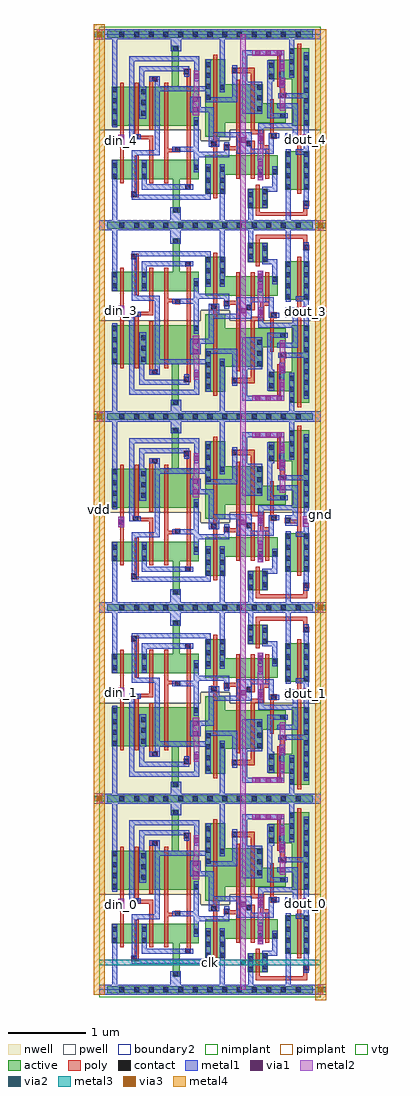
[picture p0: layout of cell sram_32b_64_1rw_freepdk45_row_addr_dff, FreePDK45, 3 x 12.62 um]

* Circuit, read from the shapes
.subckt sram_32b_64_1rw_freepdk45_row_addr_dff clk din_0 din_1 din_2 din_3 din_4 dout_0 dout_1 dout_2 dout_3 dout_4 gnd vdd
M1 n1 din_0 gnd gnd nfet w=0.25u l=0.05u
M2 n2 din_1 gnd gnd nfet w=0.25u l=0.05u
M3 n3 din_2 gnd gnd nfet w=0.25u l=0.05u
M4 n4 din_3 gnd gnd nfet w=0.25u l=0.05u
M5 n5 din_4 gnd gnd nfet w=0.25u l=0.05u
M6 n6 n7 n1 gnd nfet w=0.25u l=0.05u
M7 n8 n9 n2 gnd nfet w=0.25u l=0.05u
M8 n10 n11 n3 gnd nfet w=0.25u l=0.05u
M9 n12 n13 n4 gnd nfet w=0.25u l=0.05u
M10 n14 n15 n5 gnd nfet w=0.25u l=0.05u
M11 n16 clk n6 gnd nfet w=0.25u l=0.05u
M12 n17 clk n8 gnd nfet w=0.25u l=0.05u
M13 n18 clk n10 gnd nfet w=0.25u l=0.05u
M14 n19 clk n12 gnd nfet w=0.25u l=0.05u
M15 n20 clk n14 gnd nfet w=0.25u l=0.05u
M16 gnd n21 n16 gnd nfet w=0.25u l=0.05u
M17 gnd n22 n17 gnd nfet w=0.25u l=0.05u
M18 gnd n23 n18 gnd nfet w=0.25u l=0.05u
M19 gnd n24 n19 gnd nfet w=0.25u l=0.05u
M20 gnd n25 n20 gnd nfet w=0.25u l=0.05u
M21 n21 n6 gnd gnd nfet w=0.25u l=0.05u
M22 n22 n8 gnd gnd nfet w=0.25u l=0.05u
M23 n23 n10 gnd gnd nfet w=0.25u l=0.05u
M24 n24 n12 gnd gnd nfet w=0.25u l=0.05u
M25 n25 n14 gnd gnd nfet w=0.25u l=0.05u
M26 gnd clk n7 gnd nfet w=0.5u l=0.05u
M27 gnd clk n9 gnd nfet w=0.5u l=0.05u
M28 gnd clk n11 gnd nfet w=0.5u l=0.05u
M29 gnd clk n13 gnd nfet w=0.5u l=0.05u
M30 gnd clk n15 gnd nfet w=0.5u l=0.05u
M31 n26 n21 gnd gnd nfet w=0.25u l=0.05u
M32 n27 n22 gnd gnd nfet w=0.25u l=0.05u
M33 n28 n23 gnd gnd nfet w=0.25u l=0.05u
M34 n29 n24 gnd gnd nfet w=0.25u l=0.05u
M35 n30 n25 gnd gnd nfet w=0.25u l=0.05u
M36 n31 clk n26 gnd nfet w=0.25u l=0.05u
M37 n32 clk n27 gnd nfet w=0.25u l=0.05u
M38 n33 clk n28 gnd nfet w=0.25u l=0.05u
M39 n34 clk n29 gnd nfet w=0.25u l=0.05u
M40 n35 clk n30 gnd nfet w=0.25u l=0.05u
M41 n36 dout_0 gnd gnd nfet w=0.25u l=0.05u
M42 n37 dout_1 gnd gnd nfet w=0.25u l=0.05u
M43 n38 dout_2 gnd gnd nfet w=0.25u l=0.05u
M44 n39 dout_3 gnd gnd nfet w=0.25u l=0.05u
M45 n40 dout_4 gnd gnd nfet w=0.25u l=0.05u
M46 n36 n7 n31 gnd nfet w=0.25u l=0.05u
M47 n37 n9 n32 gnd nfet w=0.25u l=0.05u
M48 n38 n11 n33 gnd nfet w=0.25u l=0.05u
M49 n39 n13 n34 gnd nfet w=0.25u l=0.05u
M50 n40 n15 n35 gnd nfet w=0.25u l=0.05u
M51 dout_0 n31 gnd gnd nfet w=0.5u l=0.05u
M52 dout_1 n32 gnd gnd nfet w=0.5u l=0.05u
M53 dout_2 n33 gnd gnd nfet w=0.5u l=0.05u
M54 dout_3 n34 gnd gnd nfet w=0.5u l=0.05u
M55 dout_4 n35 gnd gnd nfet w=0.5u l=0.05u
M56 n41 din_0 vdd vdd pfet w=0.5u l=0.05u
M57 n42 din_1 vdd vdd pfet w=0.5u l=0.05u
M58 n43 din_2 vdd vdd pfet w=0.5u l=0.05u
M59 n44 din_3 vdd vdd pfet w=0.5u l=0.05u
M60 n45 din_4 vdd vdd pfet w=0.5u l=0.05u
M61 n6 clk n41 vdd pfet w=0.5u l=0.05u
M62 n8 clk n42 vdd pfet w=0.5u l=0.05u
M63 n10 clk n43 vdd pfet w=0.5u l=0.05u
M64 n12 clk n44 vdd pfet w=0.5u l=0.05u
M65 n14 clk n45 vdd pfet w=0.5u l=0.05u
M66 n46 n7 n6 vdd pfet w=0.5u l=0.05u
M67 n47 n9 n8 vdd pfet w=0.5u l=0.05u
M68 n48 n11 n10 vdd pfet w=0.5u l=0.05u
M69 n49 n13 n12 vdd pfet w=0.5u l=0.05u
M70 n50 n15 n14 vdd pfet w=0.5u l=0.05u
M71 vdd n21 n46 vdd pfet w=0.5u l=0.05u
M72 vdd n22 n47 vdd pfet w=0.5u l=0.05u
M73 vdd n23 n48 vdd pfet w=0.5u l=0.05u
M74 vdd n24 n49 vdd pfet w=0.5u l=0.05u
M75 vdd n25 n50 vdd pfet w=0.5u l=0.05u
M76 n21 n6 vdd vdd pfet w=0.5u l=0.05u
M77 n22 n8 vdd vdd pfet w=0.5u l=0.05u
M78 n23 n10 vdd vdd pfet w=0.5u l=0.05u
M79 n24 n12 vdd vdd pfet w=0.5u l=0.05u
M80 n25 n14 vdd vdd pfet w=0.5u l=0.05u
M81 vdd clk n7 vdd pfet w=1u l=0.05u
M82 vdd clk n9 vdd pfet w=1u l=0.05u
M83 vdd clk n11 vdd pfet w=1u l=0.05u
M84 vdd clk n13 vdd pfet w=1u l=0.05u
M85 vdd clk n15 vdd pfet w=1u l=0.05u
M86 n51 n21 vdd vdd pfet w=0.5u l=0.05u
M87 n52 n22 vdd vdd pfet w=0.5u l=0.05u
M88 n53 n23 vdd vdd pfet w=0.5u l=0.05u
M89 n54 n24 vdd vdd pfet w=0.5u l=0.05u
M90 n55 n25 vdd vdd pfet w=0.5u l=0.05u
M91 n31 n7 n51 vdd pfet w=0.5u l=0.05u
M92 n32 n9 n52 vdd pfet w=0.5u l=0.05u
M93 n33 n11 n53 vdd pfet w=0.5u l=0.05u
M94 n34 n13 n54 vdd pfet w=0.5u l=0.05u
M95 n35 n15 n55 vdd pfet w=0.5u l=0.05u
M96 n56 clk n31 vdd pfet w=0.25u l=0.05u
M97 n57 clk n32 vdd pfet w=0.25u l=0.05u
M98 n58 clk n33 vdd pfet w=0.25u l=0.05u
M99 n59 clk n34 vdd pfet w=0.25u l=0.05u
M100 n60 clk n35 vdd pfet w=0.25u l=0.05u
M101 vdd dout_0 n56 vdd pfet w=0.25u l=0.05u
M102 vdd dout_1 n57 vdd pfet w=0.25u l=0.05u
M103 vdd dout_2 n58 vdd pfet w=0.25u l=0.05u
M104 vdd dout_3 n59 vdd pfet w=0.25u l=0.05u
M105 vdd dout_4 n60 vdd pfet w=0.25u l=0.05u
M106 dout_0 n31 vdd vdd pfet w=1u l=0.05u
M107 dout_1 n32 vdd vdd pfet w=1u l=0.05u
M108 dout_2 n33 vdd vdd pfet w=1u l=0.05u
M109 dout_3 n34 vdd vdd pfet w=1u l=0.05u
M110 dout_4 n35 vdd vdd pfet w=1u l=0.05u
.ends

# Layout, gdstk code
import gdstk
lib = gdstk.Library(unit=1e-6, precision=5e-10)
def R(c, l, rs):  # rectangles x0, y0, x1, y1
    for r in rs: c.add(gdstk.rectangle(r[:2], r[2:], *l))
def A(c, l, x, y, w, h, nx, ny, dx, dy):  # array of equal rectangles
    R(c, l, [(x+i*dx, y+j*dy, x+i*dx+w, y+j*dy+h) for i in range(nx) for j in range(ny)])
def P(c, l, *ps):  # polygons
    for p in ps: c.add(gdstk.Polygon(p, *l))
active = (1, 0)
pwell = (2, 0)
nwell = (3, 0)
nimplant = (4, 0)
pimplant = (5, 0)
vtg = (6, 0)
poly = (9, 0)
contact = (10, 0)
metal1 = (11, 0)
via1 = (12, 0)
metal2 = (13, 0)
via2 = (14, 0)
metal3 = (15, 0)
via3 = (16, 0)
metal4 = (17, 0)
boundary2 = (239, 0)

dff = lib.new_cell('dff')
A(dff, active, 0.2675, 0.6, 0.05, 0.25, 4, 1, 0.19, 0)
A(dff, active, 0.3175, 0.6, 0.14, 0.25, 3, 1, 0.19, 0)
A(dff, active, 1.7675, 0.6575, 0.05, 0.25, 3, 1, 0.19, 0)
A(dff, active, 0.2675, 1.2925, 0.05, 0.5, 4, 1, 0.19, 0)
A(dff, active, 0.3175, 1.2925, 0.14, 0.5, 3, 1, 0.19, 0)
R(dff, active, [(0.1,-0.045,2.76,0.045), (1.9175,0.2225,2.0225,0.4725), (2.0225,0.2225,2.0725,0.4725), (2.0725,0.2225,2.1775,0.4725), (1.3675,0.4075,1.4725,0.9075), (1.4725,0.4075,1.5225,0.9075), (2.4025,0.4625,2.5575,0.9625), (2.5575,0.4625,2.6075,0.9625), (2.6075,0.4625,2.7125,0.9625), (0.1625,0.6,0.2675,0.85), (1.1325,0.6,1.1825,0.85), (1.1825,0.6,1.2875,0.85), (1.8175,0.6575,1.9575,0.9075), (2.0075,0.6575,2.1475,0.9075), (2.1975,0.6575,2.3075,0.9075), (1.3675,1.15,1.4725,2.15), (1.4725,1.15,1.5225,2.15), (0.1625,1.2925,0.2675,1.7925), (1.1325,1.2925,1.1825,1.7925), (1.1825,1.2925,1.2875,1.7925), (2.5575,1.2925,2.6075,2.2925), (2.6075,1.2925,2.7125,2.2925), (1.7675,1.3275,1.8175,1.8275), (1.8175,1.3275,1.9575,1.8275), (1.9575,1.3275,2.0075,1.8275), (2.2075,1.3275,2.2575,1.5775), (2.2575,1.3275,2.4075,1.5775), (2.1925,1.8925,2.2975,2.1425), (2.2975,1.8925,2.3475,2.1425), (0.1,2.425,2.76,2.515)])
P(dff, active, [(0.8875,1.2925),(0.8875,1.7925),(0.9375,1.7925),(0.9375,2.3225),(1.0275,2.3225),(1.0275,1.7925),(1.1325,1.7925),(1.1325,1.2925)],
  [(1.5225,1.15),(1.5225,2.15),(1.6275,2.15),(1.6275,1.8275),(1.7675,1.8275),(1.7675,1.3275),(1.6275,1.3275),(1.6275,1.15)],
  [(2.0075,1.3275),(2.0075,1.8275),(2.1125,1.8275),(2.1125,1.5775),(2.2075,1.5775),(2.2075,1.3275)],
  [(2.4875,1.2925),(2.4875,1.8925),(2.3475,1.8925),(2.3475,2.1425),(2.4525,2.1425),(2.4525,2.2925),(2.5575,2.2925),(2.5575,1.2925)],
  [(0.9475,0.165),(0.9475,0.6),(0.8875,0.6),(0.8875,0.85),(1.1325,0.85),(1.1325,0.6),(1.0375,0.6),(1.0375,0.165)],
  [(1.5225,0.4075),(1.5225,0.9075),(1.7675,0.9075),(1.7675,0.6575),(1.6275,0.6575),(1.6275,0.4075)])
P(dff, pwell, [(0,-0.1),(0,1.235),(1.3125,1.235),(1.3125,1.095),(1.6825,1.095),(1.6825,1.235),(2.86,1.235),(2.86,-0.1)])
P(dff, nwell, [(1.3125,1.095),(1.3125,1.235),(0,1.235),(0,2.57),(2.86,2.57),(2.86,1.235),(1.6825,1.235),(1.6825,1.095)])
A(dff, nimplant, 0.2675, 0.6, 0.05, 0.25, 4, 1, 0.19, 0)
A(dff, nimplant, 0.3175, 0.6, 0.14, 0.25, 3, 1, 0.19, 0)
A(dff, nimplant, 1.7675, 0.6575, 0.05, 0.25, 3, 1, 0.19, 0)
R(dff, nimplant, [(1.9175,0.2225,2.0225,0.4725), (2.0225,0.2225,2.0725,0.4725), (2.0725,0.2225,2.1775,0.4725), (1.3675,0.4075,1.4725,0.9075), (1.4725,0.4075,1.5225,0.9075), (2.4025,0.4625,2.5575,0.9625), (2.5575,0.4625,2.6075,0.9625), (2.6075,0.4625,2.7125,0.9625), (0.1625,0.6,0.2675,0.85), (1.1325,0.6,1.1825,0.85), (1.1825,0.6,1.2875,0.85), (1.8175,0.6575,1.9575,0.9075), (2.0075,0.6575,2.1475,0.9075), (2.1975,0.6575,2.3075,0.9075), (0.1,2.425,2.76,2.515)])
P(dff, nimplant, [(0.9475,0.165),(0.9475,0.6),(0.8875,0.6),(0.8875,0.85),(1.1325,0.85),(1.1325,0.6),(1.0375,0.6),(1.0375,0.165)],
  [(1.5225,0.4075),(1.5225,0.9075),(1.7675,0.9075),(1.7675,0.6575),(1.6275,0.6575),(1.6275,0.4075)])
A(dff, pimplant, 0.2675, 1.2925, 0.05, 0.5, 4, 1, 0.19, 0)
A(dff, pimplant, 0.3175, 1.2925, 0.14, 0.5, 3, 1, 0.19, 0)
R(dff, pimplant, [(0.1,-0.045,2.76,0.045), (1.3675,1.15,1.4725,2.15), (1.4725,1.15,1.5225,2.15), (0.1625,1.2925,0.2675,1.7925), (1.1325,1.2925,1.1825,1.7925), (1.1825,1.2925,1.2875,1.7925), (2.5575,1.2925,2.6075,2.2925), (2.6075,1.2925,2.7125,2.2925), (1.7675,1.3275,1.8175,1.8275), (1.8175,1.3275,1.9575,1.8275), (1.9575,1.3275,2.0075,1.8275), (2.2075,1.3275,2.2575,1.5775), (2.2575,1.3275,2.4075,1.5775), (2.1925,1.8925,2.2975,2.1425), (2.2975,1.8925,2.3475,2.1425)])
P(dff, pimplant, [(0.8875,1.2925),(0.8875,1.7925),(0.9375,1.7925),(0.9375,2.3225),(1.0275,2.3225),(1.0275,1.7925),(1.1325,1.7925),(1.1325,1.2925)],
  [(1.5225,1.15),(1.5225,2.15),(1.6275,2.15),(1.6275,1.8275),(1.7675,1.8275),(1.7675,1.3275),(1.6275,1.3275),(1.6275,1.15)],
  [(2.0075,1.3275),(2.0075,1.8275),(2.1125,1.8275),(2.1125,1.5775),(2.2075,1.5775),(2.2075,1.3275)],
  [(2.4875,1.2925),(2.4875,1.8925),(2.3475,1.8925),(2.3475,2.1425),(2.4525,2.1425),(2.4525,2.2925),(2.5575,2.2925),(2.5575,1.2925)])
R(dff, vtg, [(0,-0.1,2.86,2.57)])
A(dff, poly, 0.2675, 0.6, 0.05, 0.25, 4, 1, 0.19, 0)
A(dff, poly, 1.7675, 0.6025, 0.05, 0.055, 3, 1, 0.19, 0)
A(dff, poly, 1.7675, 0.6575, 0.05, 0.25, 3, 1, 0.19, 0)
A(dff, poly, 0.2675, 1.2925, 0.05, 0.5, 4, 1, 0.19, 0)
R(dff, poly, [(2.0225,0.2225,2.0725,0.4725), (1.4725,0.3525,1.5225,0.4075), (1.4725,0.4075,1.5225,0.9075), (2.5575,0.4075,2.6075,0.4625), (2.5575,0.4625,2.6075,0.9625), (2.0225,0.4725,2.0725,0.5275), (0.2675,0.545,0.3175,0.6), (0.6475,0.545,0.6975,0.6), (0.8375,0.545,0.8875,0.6), (1.1325,0.6,1.1825,0.85), (0.4575,0.85,0.5075,0.905), (1.1325,0.85,1.1825,1.2925), (1.4725,1.15,1.5225,2.15), (0.6475,1.2375,0.6975,1.2925), (1.1325,1.2925,1.1825,1.7925), (2.5575,1.2925,2.6075,2.2925), (1.7675,1.3275,1.8175,1.8275), (1.9575,1.3275,2.0075,1.8275), (2.2075,1.3275,2.2575,1.5775), (2.2075,1.5775,2.2575,1.6325), (0.2675,1.7925,0.3175,1.8475), (0.4575,1.7925,0.5075,1.8475), (0.8375,1.7925,0.8875,1.8475), (1.7675,1.8275,1.8175,1.8825), (2.2975,1.8925,2.3475,2.1425), (2.2975,2.1425,2.3475,2.1975), (1.4725,2.15,1.5225,2.205), (2.5575,2.2925,2.6075,2.3475)])
P(dff, poly, [(0.2675,0.85),(0.2675,1.0675),(0.2425,1.0675),(0.2425,1.1425),(0.2675,1.1425),(0.2675,1.2925),(0.3175,1.2925),(0.3175,0.85)],
  [(0.4125,0.365),(0.4125,0.44),(0.4575,0.44),(0.4575,0.6),(0.5075,0.6),(0.5075,0.365)],
  [(0.6475,1.7925),(0.6475,1.9325),(0.7525,1.9325),(0.7525,1.8575),(0.6975,1.8575),(0.6975,1.7925)],
  [(0.6475,0.85),(0.6475,1.1125),(0.4325,1.1125),(0.4325,1.1875),(0.4575,1.1875),(0.4575,1.2925),(0.5075,1.2925),(0.5075,1.1625),(0.6975,1.1625),(0.6975,0.85)],
  [(0.8375,0.85),(0.8375,1.2925),(0.8875,1.2925),(0.8875,0.995),(0.9725,0.995),(0.9725,1.02),(1.0475,1.02),(1.0475,0.945),(0.8875,0.945),(0.8875,0.85)],
  [(1.1325,1.7925),(1.1325,1.9525),(1.0925,1.9525),(1.0925,2.0275),(1.1825,2.0275),(1.1825,1.7925)],
  [(1.1075,0.46),(1.1075,0.535),(1.1325,0.535),(1.1325,0.6),(1.1825,0.6),(1.1825,0.46)],
  [(1.4725,0.9075),(1.4725,1.01),(1.4425,1.01),(1.4425,1.085),(1.4725,1.085),(1.4725,1.15),(1.5225,1.15),(1.5225,0.9075)],
  [(1.7675,0.9075),(1.7675,0.9725),(1.6075,0.9725),(1.6075,1.0475),(1.6825,1.0475),(1.6825,1.0225),(1.7675,1.0225),(1.7675,1.3275),(1.8175,1.3275),(1.8175,0.9075)],
  [(1.9575,1.8275),(1.9575,1.9675),(1.7125,1.9675),(1.7125,2.0425),(2.0075,2.0425),(2.0075,1.8275)],
  [(1.9575,0.9075),(1.9575,1.0225),(1.9025,1.0225),(1.9025,1.0975),(2.0075,1.0975),(2.0075,0.9075)],
  [(2.3425,1.6425),(2.3425,1.7925),(2.2975,1.7925),(2.2975,1.8925),(2.3475,1.8925),(2.3475,1.8425),(2.3925,1.8425),(2.3925,1.7175),(2.4175,1.7175),(2.4175,1.6425)],
  [(2.2075,1.1225),(2.2075,1.3275),(2.2575,1.3275),(2.2575,1.1975),(2.2925,1.1975),(2.2925,1.1225)],
  [(2.0225,0.1225),(2.0225,0.2225),(2.0725,0.2225),(2.0725,0.1725),(2.6375,0.1725),(2.6375,0.3225),(2.7125,0.3225),(2.7125,0.2475),(2.6875,0.2475),(2.6875,0.1225)],
  [(2.1475,0.9075),(2.1475,0.9875),(2.0825,0.9875),(2.0825,1.1825),(1.9575,1.1825),(1.9575,1.3275),(2.0075,1.3275),(2.0075,1.2325),(2.1325,1.2325),(2.1325,1.0375),(2.1975,1.0375),(2.1975,0.9075)],
  [(2.5575,0.9625),(2.5575,1.0875),(2.3975,1.0875),(2.3975,1.1625),(2.4725,1.1625),(2.4725,1.1375),(2.5575,1.1375),(2.5575,1.2925),(2.6075,1.2925),(2.6075,0.9625)])
A(dff, contact, 0.2575, -0.0325, 0.065, 0.065, 13, 2, 0.19, 2.47)
A(dff, contact, 1.3725, 0.4125, 0.065, 0.065, 1, 3, 0, 0.14)
A(dff, contact, 1.5575, 0.4125, 0.065, 0.065, 1, 3, 0, 0.14)
A(dff, contact, 2.4075, 0.4675, 0.065, 0.065, 1, 4, 0, 0.14)
A(dff, contact, 2.6425, 0.4675, 0.065, 0.065, 1, 4, 0, 0.14)
A(dff, contact, 2.6425, 1.2975, 0.065, 0.065, 1, 7, 0, 0.14)
A(dff, contact, 0.1675, 1.3025, 0.065, 0.065, 1, 4, 0, 0.14)
A(dff, contact, 0.5425, 1.4175, 0.065, 0.065, 1, 3, 0, 0.14)
A(dff, contact, 2.0425, 1.4775, 0.065, 0.065, 1, 3, 0, 0.14)
A(dff, contact, 1.3725, 1.6275, 0.065, 0.065, 1, 4, 0, 0.14)
A(dff, contact, 2.4575, 1.9425, 0.065, 0.065, 1, 3, 0, 0.14)
R(dff, contact, [(0.9525,0.17,1.0175,0.235), (1.9225,0.2275,1.9875,0.2925), (2.6425,0.2525,2.7075,0.3175), (2.1075,0.2625,2.1725,0.3275), (1.9225,0.3675,1.9875,0.4325), (0.4175,0.37,0.4825,0.435), (2.1075,0.4025,2.1725,0.4675), (1.1125,0.465,1.1775,0.53), (0.1675,0.605,0.2325,0.67), (0.5475,0.605,0.6125,0.67), (2.0475,0.6625,2.1125,0.7275), (2.2375,0.6625,2.3025,0.7275), (1.2175,0.72,1.2825,0.785), (0.1675,0.745,0.2325,0.81), (0.5475,0.745,0.6125,0.81), (0.9775,0.95,1.0425,1.015), (1.6125,0.9775,1.6775,1.0425), (1.4475,1.015,1.5125,1.08), (1.9075,1.0275,1.9725,1.0925), (0.2475,1.0725,0.3125,1.1375), (2.4025,1.0925,2.4675,1.1575), (0.4375,1.1175,0.5025,1.1825), (2.2225,1.1275,2.2875,1.1925), (1.2175,1.2975,1.2825,1.3625), (2.3375,1.3875,2.4025,1.4525), (2.3475,1.6475,2.4125,1.7125), (1.5575,1.7575,1.6225,1.8225), (0.6825,1.8625,0.7475,1.9275), (2.1975,1.8975,2.2625,1.9625), (1.0975,1.9575,1.1625,2.0225), (1.7175,1.9725,1.7825,2.0375), (2.1975,2.0375,2.2625,2.1025), (0.9575,2.2525,1.0225,2.3175)])
R(dff, metal1, [(0,-0.065,2.86,0.065), (0,-0.065,2.86,0.065), (2.0475,0.5875,2.1125,0.8625), (2.6425,0.915,2.7075,1.1275), (1.7775,0.9275,1.9725,1.2075), (0.245,1.0375,0.3225,1.1725), (2.6325,1.0475,2.71,1.1825), (2.3275,1.7775,2.3925,2.1275), (0,2.405,2.76,2.535), (0,2.405,2.76,2.535)])
P(dff, metal1, [(0.1675,1.2675),(0.1675,2.405),(0.1,2.405),(0.1,2.535),(2.86,2.535),(2.86,2.405),(2.5225,2.405),(2.5225,1.9075),(2.4575,1.9075),(2.4575,2.405),(1.6225,2.405),(1.6225,1.7225),(1.5575,1.7225),(1.5575,2.405),(1.0575,2.405),(1.0575,2.2525),(0.9225,2.2525),(0.9225,2.405),(0.2325,2.405),(0.2325,1.2675)],
  [(0.1,-0.065),(0.1,0.065),(0.1675,0.065),(0.1675,0.845),(0.2325,0.845),(0.2325,0.065),(0.9175,0.065),(0.9175,0.235),(1.0525,0.235),(1.0525,0.065),(1.5575,0.065),(1.5575,0.7925),(1.6225,0.7925),(1.6225,0.065),(1.9225,0.065),(1.9225,0.4675),(1.9875,0.4675),(1.9875,0.065),(2.4075,0.065),(2.4075,0.9875),(2.4725,0.9875),(2.4725,0.065),(2.76,0.065),(2.76,-0.065)],
  [(0.4175,0.335),(0.4175,0.975),(0.7175,0.975),(0.7175,1.8625),(0.6475,1.8625),(0.6475,1.9275),(0.7825,1.9275),(0.7825,1.7975),(1.3725,1.7975),(1.3725,2.1475),(1.4375,2.1475),(1.4375,1.6575),(1.7175,1.6575),(1.7175,2.0725),(1.7825,2.0725),(1.7825,1.5925),(1.3725,1.5925),(1.3725,1.7325),(0.7825,1.7325),(0.7825,0.91),(0.4825,0.91),(0.4825,0.4),(1.3725,0.4),(1.3725,0.7925),(1.4375,0.7925),(1.4375,0.335)],
  [(1.7775,0.9275),(1.7775,1.1425),(1.5475,1.1425),(1.5475,1.015),(1.4125,1.015),(1.4125,1.4625),(1.1725,1.4625),(1.1725,1.6675),(1.3075,1.6675),(1.3075,1.5275),(1.4775,1.5275),(1.4775,1.2075),(1.9725,1.2075),(1.9725,0.9925),(2.1875,0.9925),(2.1875,1.1925),(2.3225,1.1925),(2.3225,1.1275),(2.2525,1.1275),(2.2525,0.9275)],
  [(0.3875,1.1175),(0.3875,2.1875),(1.2925,2.1875),(1.2925,1.8625),(1.2275,1.8625),(1.2275,2.1225),(0.4525,2.1225),(0.4525,1.1825),(0.5375,1.1825),(0.5375,1.1175)],
  [(0.5175,1.3825),(0.5175,2.0575),(1.1625,2.0575),(1.1625,1.9225),(1.0975,1.9225),(1.0975,1.9925),(0.5825,1.9925),(0.5825,1.7975),(0.6075,1.7975),(0.6075,1.3825)],
  [(0.5475,0.465),(0.5475,0.845),(0.6125,0.845),(0.6125,0.53),(1.2125,0.53),(1.2125,0.465)],
  [(1.2175,0.685),(1.2175,0.95),(0.9425,0.95),(0.9425,1.015),(1.2175,1.015),(1.2175,1.3975),(1.2825,1.3975),(1.2825,0.95),(1.6125,0.95),(1.6125,1.0775),(1.6775,1.0775),(1.6775,0.885),(1.2825,0.885),(1.2825,0.685)],
  [(1.8475,1.4425),(1.8475,2.2675),(2.3925,2.2675),(2.3925,2.2025),(1.9125,2.2025),(1.9125,1.8575),(2.1075,1.8575),(2.1075,1.4425)],
  [(2.0525,1.0575),(2.0525,1.3225),(2.5025,1.3225),(2.5025,1.5175),(2.3025,1.5175),(2.3025,1.5825),(2.5675,1.5825),(2.5675,1.0575),(2.4025,1.0575),(2.4025,1.1925),(2.5025,1.1925),(2.5025,1.2575),(2.1175,1.2575),(2.1175,1.0575)],
  [(2.1725,1.3875),(2.1725,2.1375),(2.2625,2.1375),(2.2625,1.8625),(2.2375,1.8625),(2.2375,1.4525),(2.4375,1.4525),(2.4375,1.3875)],
  [(2.6425,0.2175),(2.6425,0.9175),(2.5375,0.9175),(2.5375,0.9825),(2.6425,0.9825),(2.6425,1.6475),(2.3125,1.6475),(2.3125,1.7125),(2.6425,1.7125),(2.6425,2.2375),(2.7075,2.2375),(2.7075,0.2175)],
  [(2.1075,0.2275),(2.1075,0.5025),(2.2375,0.5025),(2.2375,0.7625),(2.3025,0.7625),(2.3025,0.4375),(2.1725,0.4375),(2.1725,0.2275)])
A(dff, via1, 2.0125, 2.2025, 0.065, 0.065, 3, 1, 0.14, 0)
R(dff, via1, [(2.0475,0.6225,2.1125,0.6875), (2.0475,0.7625,2.1125,0.8275), (0.2475,1.0725,0.3125,1.1375), (1.825,1.0725,1.89,1.1375), (2.64,1.0825,2.705,1.1475), (2.0525,1.0925,2.1175,1.1575), (1.2075,1.4625,1.2725,1.5275), (2.3375,1.5175,2.4025,1.5825), (1.2075,1.6025,1.2725,1.6675), (2.3275,1.8125,2.3925,1.8775), (1.2275,1.8975,1.2925,1.9625), (2.3275,2.0275,2.3925,2.0925)])
R(dff, metal2, [(2.0475,0.5875,2.1175,1.1925), (0.245,1.0375,0.3225,1.1725), (0.245,1.0375,0.3225,1.1725), (1.82,1.0375,1.8975,1.1725), (1.82,1.0375,1.8975,1.1725), (2.6325,1.0475,2.71,1.1825), (2.6325,1.0475,2.71,1.1825)])
P(dff, metal2, [(1.2075,1.4275),(1.2075,1.7025),(1.2225,1.7025),(1.2225,1.9975),(1.2925,1.9975),(1.2925,1.4275)],
  [(2.3225,1.9925),(2.3225,2.1975),(1.9775,2.1975),(1.9775,2.2675),(2.3925,2.2675),(2.3925,1.9925)],
  [(2.3325,1.4825),(2.3325,1.7775),(2.3275,1.7775),(2.3275,1.9125),(2.4025,1.9125),(2.4025,1.4825)])
R(dff, boundary2, [(0,0,2.86,2.47)])
dff.add(gdstk.Label('clk', (1.865,1.15), layer=13, texttype=0))
dff.add(gdstk.Label('D', (0.295,1.15), layer=13, texttype=0))
dff.add(gdstk.Label('Q', (2.685,1.1), layer=13, texttype=0))
dff.add(gdstk.Label('gnd', (1.645,0.0425), layer=11, texttype=0))
dff.add(gdstk.Label('vdd', (2.035,2.5325), layer=11, texttype=0))
dff.add(gdstk.Label('D', (0.284,1.105), layer=13, texttype=0))
dff.add(gdstk.Label('Q', (2.671,1.115), layer=13, texttype=0))
dff.add(gdstk.Label('clk', (1.859,1.105), layer=13, texttype=0))
dff.add(gdstk.Label('vdd', (1.38,2.47), layer=11, texttype=0))
dff.add(gdstk.Label('gnd', (1.43,0), layer=11, texttype=0))

sram_32b_64_1rw_freepdk4 = lib.new_cell('sram_32b_64_1rw_freepdk45_contact_17')
R(sram_32b_64_1rw_freepdk4, metal1, [(0,0.035,0.135,0.1)])
R(sram_32b_64_1rw_freepdk4, via1, [(0.035,0.035,0.1,0.1)])
R(sram_32b_64_1rw_freepdk4, metal2, [(0.0325,0,0.1025,0.135)])
R(sram_32b_64_1rw_freepdk4, boundary2, [(0,0,0.135,0.135)])

c_sram_32b_64_1rw_freepdk4 = lib.new_cell('sram_32b_64_1rw_freepdk45_contact_18')
R(c_sram_32b_64_1rw_freepdk4, metal2, [(0.0325,0,0.1025,0.135)])
R(c_sram_32b_64_1rw_freepdk4, via2, [(0.035,0.035,0.1,0.1)])
R(c_sram_32b_64_1rw_freepdk4, metal3, [(0,0.0325,0.135,0.1025)])
R(c_sram_32b_64_1rw_freepdk4, boundary2, [(0,0,0.135,0.135)])

c_sram_32b_64_1rw_freepdk4_ = lib.new_cell('sram_32b_64_1rw_freepdk45_contact_21')
R(c_sram_32b_64_1rw_freepdk4_, metal3, [(0,0.035,0.14,0.105)])
R(c_sram_32b_64_1rw_freepdk4_, via3, [(0.035,0.035,0.105,0.105)])
R(c_sram_32b_64_1rw_freepdk4_, metal4, [(0,0,0.14,0.14)])
R(c_sram_32b_64_1rw_freepdk4_, boundary2, [(0,0,0.14,0.14)])

c_sram_32b_64_1rw_freepdk4__ = lib.new_cell('sram_32b_64_1rw_freepdk45_row_addr_dff')
R(c_sram_32b_64_1rw_freepdk4__, metal2, [(1.82,0,1.89,12.35), (0.245,1.0375,0.3225,1.1725), (2.6325,1.0475,2.71,1.1825), (2.6325,3.7575,2.71,3.8925), (0.245,3.7675,0.3225,3.9025), (0.245,5.9775,0.3225,6.1125), (2.6325,5.9875,2.71,6.1225), (2.6325,8.6975,2.71,8.8325), (0.245,8.7075,0.3225,8.8425), (0.245,10.9175,0.3225,11.0525), (2.6325,10.9275,2.71,11.0625)])
R(c_sram_32b_64_1rw_freepdk4__, metal3, [(0,0.315,2.86,0.385)])
R(c_sram_32b_64_1rw_freepdk4__, metal4, [(2.79,-0.135,2.93,12.42), (-0.07,-0.07,0.07,12.485)])
R(c_sram_32b_64_1rw_freepdk4__, boundary2, [(0,0,2.86,12.35)])
c_sram_32b_64_1rw_freepdk4__.add(gdstk.Reference(dff, (0,0)))
c_sram_32b_64_1rw_freepdk4__.add(gdstk.Reference(dff, (0,4.94), x_reflection=True))
c_sram_32b_64_1rw_freepdk4__.add(gdstk.Reference(dff, (0,4.94)))
c_sram_32b_64_1rw_freepdk4__.add(gdstk.Reference(dff, (0,9.88), x_reflection=True))
c_sram_32b_64_1rw_freepdk4__.add(gdstk.Reference(dff, (0,9.88)))
c_sram_32b_64_1rw_freepdk4__.add(gdstk.Reference(sram_32b_64_1rw_freepdk4, (-0.0675,2.4025)))
c_sram_32b_64_1rw_freepdk4__.add(gdstk.Reference(c_sram_32b_64_1rw_freepdk4, (-0.0675,2.4025)))
c_sram_32b_64_1rw_freepdk4__.add(gdstk.Reference(c_sram_32b_64_1rw_freepdk4_, (-0.07,2.4)))
c_sram_32b_64_1rw_freepdk4__.add(gdstk.Reference(sram_32b_64_1rw_freepdk4, (-0.0675,2.4025)))
c_sram_32b_64_1rw_freepdk4__.add(gdstk.Reference(c_sram_32b_64_1rw_freepdk4, (-0.0675,2.4025)))
c_sram_32b_64_1rw_freepdk4__.add(gdstk.Reference(c_sram_32b_64_1rw_freepdk4_, (-0.07,2.4)))
c_sram_32b_64_1rw_freepdk4__.add(gdstk.Reference(sram_32b_64_1rw_freepdk4, (-0.0675,7.3425)))
c_sram_32b_64_1rw_freepdk4__.add(gdstk.Reference(c_sram_32b_64_1rw_freepdk4, (-0.0675,7.3425)))
c_sram_32b_64_1rw_freepdk4__.add(gdstk.Reference(c_sram_32b_64_1rw_freepdk4_, (-0.07,7.34)))
c_sram_32b_64_1rw_freepdk4__.add(gdstk.Reference(sram_32b_64_1rw_freepdk4, (-0.0675,7.3425)))
c_sram_32b_64_1rw_freepdk4__.add(gdstk.Reference(c_sram_32b_64_1rw_freepdk4, (-0.0675,7.3425)))
c_sram_32b_64_1rw_freepdk4__.add(gdstk.Reference(c_sram_32b_64_1rw_freepdk4_, (-0.07,7.34)))
c_sram_32b_64_1rw_freepdk4__.add(gdstk.Reference(sram_32b_64_1rw_freepdk4, (-0.0675,12.2825)))
c_sram_32b_64_1rw_freepdk4__.add(gdstk.Reference(c_sram_32b_64_1rw_freepdk4, (-0.0675,12.2825)))
c_sram_32b_64_1rw_freepdk4__.add(gdstk.Reference(c_sram_32b_64_1rw_freepdk4_, (-0.07,12.28)))
c_sram_32b_64_1rw_freepdk4__.add(gdstk.Reference(sram_32b_64_1rw_freepdk4, (2.7925,-0.0675)))
c_sram_32b_64_1rw_freepdk4__.add(gdstk.Reference(c_sram_32b_64_1rw_freepdk4, (2.7925,-0.0675)))
c_sram_32b_64_1rw_freepdk4__.add(gdstk.Reference(c_sram_32b_64_1rw_freepdk4_, (2.79,-0.07)))
c_sram_32b_64_1rw_freepdk4__.add(gdstk.Reference(sram_32b_64_1rw_freepdk4, (2.7925,4.8725)))
c_sram_32b_64_1rw_freepdk4__.add(gdstk.Reference(c_sram_32b_64_1rw_freepdk4, (2.7925,4.8725)))
c_sram_32b_64_1rw_freepdk4__.add(gdstk.Reference(c_sram_32b_64_1rw_freepdk4_, (2.79,4.87)))
c_sram_32b_64_1rw_freepdk4__.add(gdstk.Reference(sram_32b_64_1rw_freepdk4, (2.7925,4.8725)))
c_sram_32b_64_1rw_freepdk4__.add(gdstk.Reference(c_sram_32b_64_1rw_freepdk4, (2.7925,4.8725)))
c_sram_32b_64_1rw_freepdk4__.add(gdstk.Reference(c_sram_32b_64_1rw_freepdk4_, (2.79,4.87)))
c_sram_32b_64_1rw_freepdk4__.add(gdstk.Reference(sram_32b_64_1rw_freepdk4, (2.7925,9.8125)))
c_sram_32b_64_1rw_freepdk4__.add(gdstk.Reference(c_sram_32b_64_1rw_freepdk4, (2.7925,9.8125)))
c_sram_32b_64_1rw_freepdk4__.add(gdstk.Reference(c_sram_32b_64_1rw_freepdk4_, (2.79,9.81)))
c_sram_32b_64_1rw_freepdk4__.add(gdstk.Reference(sram_32b_64_1rw_freepdk4, (2.7925,9.8125)))
c_sram_32b_64_1rw_freepdk4__.add(gdstk.Reference(c_sram_32b_64_1rw_freepdk4, (2.7925,9.8125)))
c_sram_32b_64_1rw_freepdk4__.add(gdstk.Reference(c_sram_32b_64_1rw_freepdk4_, (2.79,9.81)))
c_sram_32b_64_1rw_freepdk4__.add(gdstk.Reference(c_sram_32b_64_1rw_freepdk4, (1.79,0.2825)))
c_sram_32b_64_1rw_freepdk4__.add(gdstk.Label('vdd', (0,6.2075), layer=17, texttype=0))
c_sram_32b_64_1rw_freepdk4__.add(gdstk.Label('gnd', (2.86,6.1425), layer=17, texttype=0))
c_sram_32b_64_1rw_freepdk4__.add(gdstk.Label('din_0', (0.284,1.105), layer=13, texttype=0))
c_sram_32b_64_1rw_freepdk4__.add(gdstk.Label('dout_0', (2.671,1.115), layer=13, texttype=0))
c_sram_32b_64_1rw_freepdk4__.add(gdstk.Label('din_1', (0.284,3.835), layer=13, texttype=0))
c_sram_32b_64_1rw_freepdk4__.add(gdstk.Label('dout_1', (2.671,3.825), layer=13, texttype=0))
c_sram_32b_64_1rw_freepdk4__.add(gdstk.Label('din_2', (0.284,6.045), layer=13, texttype=0))
c_sram_32b_64_1rw_freepdk4__.add(gdstk.Label('dout_2', (2.671,6.055), layer=13, texttype=0))
c_sram_32b_64_1rw_freepdk4__.add(gdstk.Label('din_3', (0.284,8.775), layer=13, texttype=0))
c_sram_32b_64_1rw_freepdk4__.add(gdstk.Label('dout_3', (2.671,8.765), layer=13, texttype=0))
c_sram_32b_64_1rw_freepdk4__.add(gdstk.Label('din_4', (0.284,10.985), layer=13, texttype=0))
c_sram_32b_64_1rw_freepdk4__.add(gdstk.Label('dout_4', (2.671,10.995), layer=13, texttype=0))
c_sram_32b_64_1rw_freepdk4__.add(gdstk.Label('clk', (1.43,0.35), layer=15, texttype=0))

lib.write_gds('sram_32b_64_1rw_freepdk45_row_addr_dff.gds')
